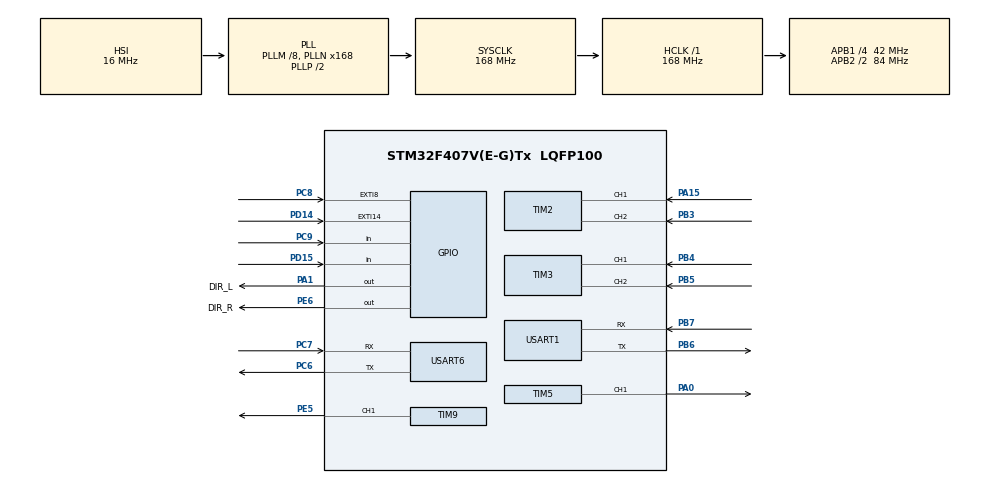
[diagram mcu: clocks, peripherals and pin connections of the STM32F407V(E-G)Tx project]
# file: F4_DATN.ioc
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Dma.Request0=USART1_RX
Dma.Request1=USART6_RX
Dma.USART1_RX.0.Direction=DMA_PERIPH_TO_MEMORY
Dma.USART1_RX.0.FIFOMode=DMA_FIFOMODE_DISABLE
Dma.USART1_RX.0.Instance=DMA2_Stream5
Dma.USART1_RX.0.MemDataAlignment=DMA_MDATAALIGN_BYTE
Dma.USART1_RX.0.MemInc=DMA_MINC_ENABLE
Dma.USART1_RX.0.Mode=DMA_NORMAL
Dma.USART1_RX.0.PeriphDataAlignment=DMA_PDATAALIGN_BYTE
Dma.USART1_RX.0.PeriphInc=DMA_PINC_DISABLE
Dma.USART1_RX.0.Priority=DMA_PRIORITY_MEDIUM
Dma.USART6_RX.1.Direction=DMA_PERIPH_TO_MEMORY
Dma.USART6_RX.1.FIFOMode=DMA_FIFOMODE_DISABLE
Dma.USART6_RX.1.Instance=DMA2_Stream1
Dma.USART6_RX.1.MemDataAlignment=DMA_MDATAALIGN_BYTE
Dma.USART6_RX.1.MemInc=DMA_MINC_ENABLE
Dma.USART6_RX.1.Mode=DMA_NORMAL
Dma.USART6_RX.1.PeriphDataAlignment=DMA_PDATAALIGN_BYTE
Dma.USART6_RX.1.PeriphInc=DMA_PINC_DISABLE
Dma.USART6_RX.1.Priority=DMA_PRIORITY_LOW
Mcu.Family=STM32F4
Mcu.Name=STM32F407V(E-G)Tx
Mcu.Package=LQFP100
NVIC.DMA2_Stream1_IRQn=true\:0\:0\:false\:false\:true\:false\:true\:true
NVIC.DMA2_Stream5_IRQn=true\:0\:0\:false\:false\:true\:false\:true\:true
NVIC.EXTI15_10_IRQn=true\:0\:0\:false\:false\:true\:true\:true\:true
NVIC.EXTI9_5_IRQn=true\:0\:0\:false\:false\:true\:true\:true\:true
NVIC.FPU_IRQn=true\:0\:0\:false\:false\:true\:true\:false\:true
NVIC.PriorityGroup=NVIC_PRIORITYGROUP_4
NVIC.TIM1_BRK_TIM9_IRQn=true\:0\:0\:false\:false\:true\:true\:true\:true
NVIC.TIM1_CC_IRQn=true\:0\:0\:false\:false\:true\:true\:true\:true
NVIC.TIM1_TRG_COM_TIM11_IRQn=true\:0\:0\:false\:false\:true\:true\:true\:true
NVIC.TIM1_UP_TIM10_IRQn=true\:0\:0\:false\:false\:true\:true\:true\:true
NVIC.USART1_IRQn=true\:0\:0\:false\:false\:true\:true\:true\:true
NVIC.USART6_IRQn=true\:0\:0\:false\:false\:true\:true\:true\:true
PA0-WKUP.Signal=S_TIM5_CH1
PA1.GPIO_Label=DIR_L
PA1.Signal=GPIO_Output
PA13.Mode=Serial_Wire
PA13.Signal=SYS_JTMS-SWDIO
PA14.Mode=Serial_Wire
PA14.Signal=SYS_JTCK-SWCLK
PA15.GPIO_PuPd=GPIO_PULLUP
PA15.Signal=S_TIM2_CH1_ETR
PB3.GPIO_PuPd=GPIO_PULLUP
PB3.Signal=S_TIM2_CH2
PB4.GPIO_PuPd=GPIO_PULLUP
PB4.Signal=S_TIM3_CH1
PB5.GPIO_PuPd=GPIO_PULLUP
PB5.Signal=S_TIM3_CH2
PB6.Mode=Asynchronous
PB6.Signal=USART1_TX
PB7.Mode=Asynchronous
PB7.Signal=USART1_RX
PC6.Mode=Asynchronous
PC6.Signal=USART6_TX
PC7.Mode=Asynchronous
PC7.Signal=USART6_RX
PC8.GPIO_ModeDefaultEXTI=GPIO_MODE_IT_RISING
PC8.GPIO_PuPd=GPIO_PULLUP
PC8.Signal=GPXTI8
PC9.GPIO_PuPd=GPIO_PULLUP
PC9.Signal=GPIO_Input
PD14.GPIO_ModeDefaultEXTI=GPIO_MODE_IT_RISING
PD14.GPIO_PuPd=GPIO_PULLUP
PD14.Signal=GPXTI14
PD15.GPIO_PuPd=GPIO_PULLUP
PD15.Signal=GPIO_Input
PD5.Signal=USART2_TX
PD6.Signal=USART2_RX
PE5.Signal=S_TIM9_CH1
PE6.GPIO_Label=DIR_R
PE6.Signal=GPIO_Output
ProjectManager.HeapSize=0x200
ProjectManager.StackSize=0x400
ProjectManager.TargetToolchain=STM32CubeIDE
RCC.48MHZClocksFreq_Value=84000000
RCC.AHBFreq_Value=168000000
RCC.APB1CLKDivider=RCC_HCLK_DIV4
RCC.APB1Freq_Value=42000000
RCC.APB1TimFreq_Value=84000000
RCC.APB2CLKDivider=RCC_HCLK_DIV2
RCC.APB2Freq_Value=84000000
RCC.APB2TimFreq_Value=168000000
RCC.CortexFreq_Value=168000000
RCC.HCLKFreq_Value=168000000
RCC.HSE_VALUE=8000000
RCC.HSI_VALUE=16000000
RCC.LSE_VALUE=32768
RCC.PLLM=8
RCC.PLLN=168
RCC.SYSCLKFreq_VALUE=168000000
RCC.SYSCLKSource=RCC_SYSCLKSOURCE_PLLCLK
RCC.VCOOutputFreq_Value=336000000
SH.S_TIM2_CH1_ETR.0=TIM2_CH1,Encoder_Interface
SH.S_TIM2_CH2.0=TIM2_CH2,Encoder_Interface
SH.S_TIM3_CH1.0=TIM3_CH1,Encoder_Interface
SH.S_TIM3_CH2.0=TIM3_CH2,Encoder_Interface
SH.S_TIM5_CH1.0=TIM5_CH1,PWM Generation1 CH1
SH.S_TIM9_CH1.0=TIM9_CH1,PWM Generation1 CH1
TIM1.Period=10000-1
TIM1.Prescaler=168-1
TIM2.EncoderMode=TIM_ENCODERMODE_TI12
TIM3.EncoderMode=TIM_ENCODERMODE_TI12
TIM5.Channel-PWM\ Generation1\ CH1=TIM_CHANNEL_1
TIM5.Period=255-1
TIM5.Prescaler=67-1
TIM9.Channel-PWM\ Generation1\ CH1=TIM_CHANNEL_1
TIM9.Period=255-1
TIM9.Prescaler=133-1
USART1.VirtualMode=VM_ASYNC
USART6.VirtualMode=VM_ASYNC
VP_TIM1_VS_ClockSourceINT.Mode=Internal
VP_TIM5_VS_ClockSourceINT.Mode=Internal
VP_TIM9_VS_ClockSourceINT.Mode=Internal
board=custom

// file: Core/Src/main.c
/* USER CODE BEGIN Header */
/**
 ******************************************************************************
 * @file           : main.c
 * @brief          : Main program body
 ******************************************************************************
 * @attention
 *
 * Copyright (c) 2024 STMicroelectronics.
 * All rights reserved.
 *
 * This software is licensed under terms that can be found in the LICENSE file
 * in the root directory of this software component.
 * If no LICENSE file comes with this software, it is provided AS-IS.
 *
 ******************************************************************************
 */
/* USER CODE END Header */
#include "main.h"

/* USER CODE BEGIN Includes */
#include "Motor.h"
#include "encoder.h"
#include "PID.h"
#include "string.h"
#include "stdio.h"
#include "math.h"
/* USER CODE END Includes */

/* USER CODE BEGIN PD */
#define DELTA_T		0.01
#define WHEEL_DIS	0.14
#define WHEEL_RAD	0.05

#define KP_R		0.25
#define KI_R		5
#define KD_R		0
#define ALPHA_R		0
#define U_ABOVE_R	254
#define U_BELOW_R	-254
#define PPR_R		1000

#define KP_L		0.25
#define KI_L		5
#define KD_L		0
#define ALPHA_L		0
#define U_ABOVE_L	254
#define U_BELOW_L	-254
#define PPR_L		1000

#define RX_BUFF_SIZE	20
#define TX_BUFF_SIZE    50
/* USER CODE END PD */

TIM_HandleTypeDef htim1;
TIM_HandleTypeDef htim2;
TIM_HandleTypeDef htim3;
TIM_HandleTypeDef htim5;
TIM_HandleTypeDef htim9;

UART_HandleTypeDef huart1;
UART_HandleTypeDef huart6;
DMA_HandleTypeDef hdma_usart1_rx;
DMA_HandleTypeDef hdma_usart6_rx;

/* USER CODE BEGIN PV */
typedef struct Driver_Para{
	TIM_HandleTypeDef *timDC;
	uint32_t Channel;
	uint8_t dir;
	GPIO_TypeDef *dirPort;
	uint16_t dirPin;
}Driver_Para;

typedef struct Encoder_x1{
	//------------------------Timer & Count--------------//
	TIM_HandleTypeDef *htim;
	int32_t count_X4;
	int32_t count_X1;
	int32_t count_Pre;
	uint32_t count_PerRevol;
	//------------------------Speed Val-----------------//
	float vel_Real;
	float vel_Pre;
	float vel_Fil;
	//------------------------Pos Cal-------------------//
	float Degree;
	float deltaT;
}Encoder_x1;

Driver_Para DC_R;
Driver_Para DC_L;

Encoder_t ENC_R;
Encoder_t ENC_L;

Encoder_x1 ENC_R_X1;
Encoder_x1 ENC_L_X1;

PID_Param PID_R;
PID_Param PID_L;

int speedRead1 = 0, speedRead2 = 0;
int speedRead1_m = 0, speedRead2_m = 0;
volatile int DC_R_Target = 0, DC_L_Target = 0;
char Rx_Buff[RX_BUFF_SIZE];
char Tx_Buff[TX_BUFF_SIZE];
/* USER CODE END PV */

void SystemClock_Config(void);
static void MX_GPIO_Init(void);
static void MX_DMA_Init(void);
static void MX_TIM3_Init(void);
static void MX_TIM5_Init(void);
static void MX_TIM9_Init(void);
static void MX_TIM2_Init(void);
static void MX_USART1_UART_Init(void);
static void MX_TIM1_Init(void);
static void MX_USART6_UART_Init(void);

/* USER CODE BEGIN 0 */
volatile int countL = 0,countR = 0;
uint8_t mpu[10];
uint8_t send_mpu;
int16_t angle;
int16_t pre_angle;
float angular_speed = 0;
int yaw = 0;
void Get_MPU_Angle()
{
	send_mpu = 'z';
	HAL_UART_Transmit(&huart6, &send_mpu, 1, 1);
}

void Reset_MPU_Angle()
{
	send_mpu = 'a';
	HAL_UART_Transmit(&huart6, &send_mpu, 1, 1);

}

void HAL_GPIO_EXTI_Callback(uint16_t GPIO_Pin) {
	if (GPIO_Pin == GPIO_PIN_8) {
		if (HAL_GPIO_ReadPin(GPIOC, GPIO_PIN_9)) {
			countL++;
		} else {
			countL--;
		}
	}
	if(GPIO_Pin == GPIO_PIN_14) {
		if (HAL_GPIO_ReadPin(GPIOD, GPIO_PIN_15)) {
			countR--;
		} else {
			countR++;
		}
	}
}

void encoder_Init_x1 (Encoder_x1 *enc, uint16_t pulPerRev, float deltaT) {
	enc->count_PerRevol = pulPerRev;
	enc->deltaT = deltaT;
}

float encoder_GetSpeed_x1 (Encoder_x1 *enc,int count) {
	enc->vel_Real = ((count - enc->count_Pre)*60)/(enc->count_PerRevol*enc->deltaT);
	enc->vel_Fil = 0.854 * enc->vel_Fil + 0.0728 * enc->vel_Real+ 0.0728 * enc->vel_Pre;
	enc->vel_Pre = enc->vel_Real;
	enc->count_Pre = count;
	return enc->vel_Real;
}

void DriverInit(Driver_Para *dcMotor, TIM_HandleTypeDef *htim, uint32_t channel,GPIO_TypeDef *dirPort,uint16_t dirPin) {
	dcMotor->Channel = channel;
	dcMotor->timDC = htim;
	dcMotor->dirPort = dirPort;
	dcMotor->dirPin = dirPin;
}
void DriveMotor(Driver_Para *dcMotor, int32_t speedInput) {
	__HAL_TIM_SET_COMPARE(dcMotor->timDC, dcMotor->Channel, 0);
	if (!speedInput) return;
	uint32_t pwm = 255-abs(speedInput);
	if (speedInput < 0)
		HAL_GPIO_WritePin(dcMotor->dirPort, dcMotor->dirPin, 0);
	else if (speedInput > 0) HAL_GPIO_WritePin(dcMotor->dirPort, dcMotor->dirPin, 1);
	__HAL_TIM_SET_COMPARE(dcMotor->timDC, dcMotor->Channel, pwm);
}

void HAL_UARTEx_RxEventCallback(UART_HandleTypeDef *huart,uint16_t Size) {
	if (huart->Instance == USART1) {
		sscanf(Rx_Buff,"(%d;%d)", &DC_R_Target, &DC_L_Target);
		memset(Rx_Buff, 0, sizeof(Rx_Buff));
		HAL_UARTEx_ReceiveToIdle_DMA(huart, (uint8_t *)Rx_Buff, RX_BUFF_SIZE);
		__HAL_DMA_DISABLE_IT(&hdma_usart1_rx,DMA_IT_HT);
	}
	if (huart->Instance == USART6) {
		angle = mpu[0] << 8 | mpu[1];

		HAL_UARTEx_ReceiveToIdle_DMA(&huart6, (uint8_t *)mpu, 10);
		__HAL_DMA_DISABLE_IT(&hdma_usart6_rx,DMA_IT_HT);
	}
}

void HAL_TIM_PeriodElapsedCallback(TIM_HandleTypeDef *htim) {
	if (htim->Instance == TIM1) {
		speedRead2 = encoder_GetSpeed_x1(&ENC_R_X1,countR);
		speedRead1 = encoder_GetSpeed_x1(&ENC_L_X1,countL);

		DriveMotor(&DC_R, PID_Calculate(&PID_R, DC_R_Target, speedRead2));
		DriveMotor(&DC_L, -PID_Calculate(&PID_L, DC_L_Target, speedRead1));
	}
}
/* USER CODE END 0 */

int main(void)
{

	/* MCU Configuration--------------------------------------------------------*/

	/* Reset of all peripherals, Initializes the Flash interface and the Systick. */
	HAL_Init();

	/* Configure the system clock */
	SystemClock_Config();

	/* Initialize all configured peripherals */
	MX_GPIO_Init();
	MX_DMA_Init();
	MX_TIM3_Init();
	MX_TIM5_Init();
	MX_TIM9_Init();
	MX_TIM2_Init();
	MX_USART1_UART_Init();
	MX_TIM1_Init();
	MX_USART6_UART_Init();
	/* USER CODE BEGIN 2 */

	HAL_TIM_PWM_Start(&htim5, TIM_CHANNEL_1);
	HAL_TIM_PWM_Start(&htim9, TIM_CHANNEL_1);
	HAL_TIM_Encoder_Start_IT(&htim3, TIM_CHANNEL_ALL);
	HAL_TIM_Encoder_Start_IT(&htim2, TIM_CHANNEL_ALL);

	DriverInit(&DC_R, &htim9, TIM_CHANNEL_1, DIR_R_GPIO_Port,DIR_R_Pin );
	DriverInit(&DC_L, &htim5, TIM_CHANNEL_1, DIR_L_GPIO_Port, DIR_L_Pin);

	encoder_Init(&ENC_R, &htim3, PPR_R, DELTA_T);
	encoder_Init(&ENC_L, &htim2, PPR_L, DELTA_T);

	encoder_Init_x1(&ENC_R_X1, PPR_R, DELTA_T);
	encoder_Init_x1(&ENC_L_X1, PPR_L, DELTA_T);

	PID_SetParameters(&PID_R, KP_R, KI_R, KD_R, ALPHA_R,DELTA_T);
	PID_SetParameters(&PID_L, KP_L, KI_L, KD_L, ALPHA_L,DELTA_T);
	PID_SetSaturate(&PID_R, U_ABOVE_R, U_BELOW_R);
	PID_SetSaturate(&PID_L, U_ABOVE_L, U_BELOW_L);

	PID_R.kB = 20;
	PID_L.kB = 20;

	HAL_UARTEx_ReceiveToIdle_DMA(&huart1, (uint8_t *)Rx_Buff, RX_BUFF_SIZE);
	__HAL_DMA_DISABLE_IT(&hdma_usart1_rx,DMA_IT_HT);
	HAL_UARTEx_ReceiveToIdle_DMA(&huart6, (uint8_t *)mpu, 10);
	__HAL_DMA_DISABLE_IT(&hdma_usart6_rx,DMA_IT_HT);
	Reset_MPU_Angle();

	HAL_TIM_Base_Start_IT(&htim1);

	/* USER CODE END 2 */

	/* Infinite loop */
	/* USER CODE BEGIN WHILE */
	while (1)
	{
		Get_MPU_Angle();
		angular_speed = (angle - pre_angle) / 0.01;
		yaw += (abs(angular_speed) <= 100 ? 0 : ((int)(floor(angular_speed / 10.0)) * 10)) * 0.01;
		pre_angle = angle;
		sprintf(Tx_Buff,"%d;%d;%d \n", countL, countR, (int)yaw);
		HAL_UART_Transmit(&huart1, (uint8_t *)Tx_Buff, 50, 100);
		HAL_Delay(10);
		/* USER CODE END WHILE */

	}
}

void SystemClock_Config(void)
{
	RCC_OscInitTypeDef RCC_OscInitStruct = {0};
	RCC_ClkInitTypeDef RCC_ClkInitStruct = {0};

	/** Configure the main internal regulator output voltage
	 */
	__HAL_RCC_PWR_CLK_ENABLE();
	__HAL_PWR_VOLTAGESCALING_CONFIG(PWR_REGULATOR_VOLTAGE_SCALE1);

	/** Initializes the RCC Oscillators according to the specified parameters
	 * in the RCC_OscInitTypeDef structure.
	 */
	RCC_OscInitStruct.OscillatorType = RCC_OSCILLATORTYPE_HSI;
	RCC_OscInitStruct.HSIState = RCC_HSI_ON;
	RCC_OscInitStruct.HSICalibrationValue = RCC_HSICALIBRATION_DEFAULT;
	RCC_OscInitStruct.PLL.PLLState = RCC_PLL_ON;
	RCC_OscInitStruct.PLL.PLLSource = RCC_PLLSOURCE_HSI;
	RCC_OscInitStruct.PLL.PLLM = 8;
	RCC_OscInitStruct.PLL.PLLN = 168;
	RCC_OscInitStruct.PLL.PLLP = RCC_PLLP_DIV2;
	RCC_OscInitStruct.PLL.PLLQ = 4;
	if (HAL_RCC_OscConfig(&RCC_OscInitStruct) != HAL_OK)
	{
		Error_Handler();
	}

	/** Initializes the CPU, AHB and APB buses clocks
	 */
	RCC_ClkInitStruct.ClockType = RCC_CLOCKTYPE_HCLK|RCC_CLOCKTYPE_SYSCLK
			|RCC_CLOCKTYPE_PCLK1|RCC_CLOCKTYPE_PCLK2;
	RCC_ClkInitStruct.SYSCLKSource = RCC_SYSCLKSOURCE_PLLCLK;
	RCC_ClkInitStruct.AHBCLKDivider = RCC_SYSCLK_DIV1;
	RCC_ClkInitStruct.APB1CLKDivider = RCC_HCLK_DIV4;
	RCC_ClkInitStruct.APB2CLKDivider = RCC_HCLK_DIV2;

	if (HAL_RCC_ClockConfig(&RCC_ClkInitStruct, FLASH_LATENCY_5) != HAL_OK)
	{
		Error_Handler();
	}
}

static void MX_TIM1_Init(void)
{

	TIM_ClockConfigTypeDef sClockSourceConfig = {0};
	TIM_MasterConfigTypeDef sMasterConfig = {0};

	htim1.Instance = TIM1;
	htim1.Init.Prescaler = 168-1;
	htim1.Init.CounterMode = TIM_COUNTERMODE_UP;
	htim1.Init.Period = 10000-1;
	htim1.Init.ClockDivision = TIM_CLOCKDIVISION_DIV1;
	htim1.Init.RepetitionCounter = 0;
	htim1.Init.AutoReloadPreload = TIM_AUTORELOAD_PRELOAD_DISABLE;
	if (HAL_TIM_Base_Init(&htim1) != HAL_OK)
	{
		Error_Handler();
	}
	sClockSourceConfig.ClockSource = TIM_CLOCKSOURCE_INTERNAL;
	if (HAL_TIM_ConfigClockSource(&htim1, &sClockSourceConfig) != HAL_OK)
	{
		Error_Handler();
	}
	sMasterConfig.MasterOutputTrigger = TIM_TRGO_RESET;
	sMasterConfig.MasterSlaveMode = TIM_MASTERSLAVEMODE_DISABLE;
	if (HAL_TIMEx_MasterConfigSynchronization(&htim1, &sMasterConfig) != HAL_OK)
	{
		Error_Handler();
	}

}

static void MX_TIM2_Init(void)
{

	TIM_Encoder_InitTypeDef sConfig = {0};
	TIM_MasterConfigTypeDef sMasterConfig = {0};

	htim2.Instance = TIM2;
	htim2.Init.Prescaler = 0;
	htim2.Init.CounterMode = TIM_COUNTERMODE_UP;
	htim2.Init.Period = 4294967295;
	htim2.Init.ClockDivision = TIM_CLOCKDIVISION_DIV1;
	htim2.Init.AutoReloadPreload = TIM_AUTORELOAD_PRELOAD_DISABLE;
	sConfig.EncoderMode = TIM_ENCODERMODE_TI12;
	sConfig.IC1Polarity = TIM_ICPOLARITY_RISING;
	sConfig.IC1Selection = TIM_ICSELECTION_DIRECTTI;
	sConfig.IC1Prescaler = TIM_ICPSC_DIV1;
	sConfig.IC1Filter = 0;
	sConfig.IC2Polarity = TIM_ICPOLARITY_RISING;
	sConfig.IC2Selection = TIM_ICSELECTION_DIRECTTI;
	sConfig.IC2Prescaler = TIM_ICPSC_DIV1;
	sConfig.IC2Filter = 0;
	if (HAL_TIM_Encoder_Init(&htim2, &sConfig) != HAL_OK)
	{
		Error_Handler();
	}
	sMasterConfig.MasterOutputTrigger = TIM_TRGO_RESET;
	sMasterConfig.MasterSlaveMode = TIM_MASTERSLAVEMODE_DISABLE;
	if (HAL_TIMEx_MasterConfigSynchronization(&htim2, &sMasterConfig) != HAL_OK)
	{
		Error_Handler();
	}

}

static void MX_TIM3_Init(void)
{

	TIM_Encoder_InitTypeDef sConfig = {0};
	TIM_MasterConfigTypeDef sMasterConfig = {0};

	htim3.Instance = TIM3;
	htim3.Init.Prescaler = 0;
	htim3.Init.CounterMode = TIM_COUNTERMODE_UP;
	htim3.Init.Period = 65535;
	htim3.Init.ClockDivision = TIM_CLOCKDIVISION_DIV1;
	htim3.Init.AutoReloadPreload = TIM_AUTORELOAD_PRELOAD_DISABLE;
	sConfig.EncoderMode = TIM_ENCODERMODE_TI12;
	sConfig.IC1Polarity = TIM_ICPOLARITY_RISING;
	sConfig.IC1Selection = TIM_ICSELECTION_DIRECTTI;
	sConfig.IC1Prescaler = TIM_ICPSC_DIV1;
	sConfig.IC1Filter = 0;
	sConfig.IC2Polarity = TIM_ICPOLARITY_RISING;
	sConfig.IC2Selection = TIM_ICSELECTION_DIRECTTI;
	sConfig.IC2Prescaler = TIM_ICPSC_DIV1;
	sConfig.IC2Filter = 0;
	if (HAL_TIM_Encoder_Init(&htim3, &sConfig) != HAL_OK)
	{
		Error_Handler();
	}
	sMasterConfig.MasterOutputTrigger = TIM_TRGO_RESET;
	sMasterConfig.MasterSlaveMode = TIM_MASTERSLAVEMODE_DISABLE;
	if (HAL_TIMEx_MasterConfigSynchronization(&htim3, &sMasterConfig) != HAL_OK)
	{
		Error_Handler();
	}

}

static void MX_TIM5_Init(void)
{

	TIM_ClockConfigTypeDef sClockSourceConfig = {0};
	TIM_MasterConfigTypeDef sMasterConfig = {0};
	TIM_OC_InitTypeDef sConfigOC = {0};

	htim5.Instance = TIM5;
	htim5.Init.Prescaler = 67-1;
	htim5.Init.CounterMode = TIM_COUNTERMODE_UP;
	htim5.Init.Period = 255-1;
	htim5.Init.ClockDivision = TIM_CLOCKDIVISION_DIV1;
	htim5.Init.AutoReloadPreload = TIM_AUTORELOAD_PRELOAD_DISABLE;
	if (HAL_TIM_Base_Init(&htim5) != HAL_OK)
	{
		Error_Handler();
	}
	sClockSourceConfig.ClockSource = TIM_CLOCKSOURCE_INTERNAL;
	if (HAL_TIM_ConfigClockSource(&htim5, &sClockSourceConfig) != HAL_OK)
	{
		Error_Handler();
	}
	if (HAL_TIM_PWM_Init(&htim5) != HAL_OK)
	{
		Error_Handler();
	}
	sMasterConfig.MasterOutputTrigger = TIM_TRGO_RESET;
	sMasterConfig.MasterSlaveMode = TIM_MASTERSLAVEMODE_DISABLE;
	if (HAL_TIMEx_MasterConfigSynchronization(&htim5, &sMasterConfig) != HAL_OK)
	{
		Error_Handler();
	}
	sConfigOC.OCMode = TIM_OCMODE_PWM1;
	sConfigOC.Pulse = 0;
	sConfigOC.OCPolarity = TIM_OCPOLARITY_HIGH;
	sConfigOC.OCFastMode = TIM_OCFAST_DISABLE;
	if (HAL_TIM_PWM_ConfigChannel(&htim5, &sConfigOC, TIM_CHANNEL_1) != HAL_OK)
	{
		Error_Handler();
	}
	HAL_TIM_MspPostInit(&htim5);

}

static void MX_TIM9_Init(void)
{

	TIM_ClockConfigTypeDef sClockSourceConfig = {0};
	TIM_OC_InitTypeDef sConfigOC = {0};

	htim9.Instance = TIM9;
	htim9.Init.Prescaler = 133-1;
	htim9.Init.CounterMode = TIM_COUNTERMODE_UP;
	htim9.Init.Period = 255-1;
	htim9.Init.ClockDivision = TIM_CLOCKDIVISION_DIV1;
	htim9.Init.AutoReloadPreload = TIM_AUTORELOAD_PRELOAD_DISABLE;
	if (HAL_TIM_Base_Init(&htim9) != HAL_OK)
	{
		Error_Handler();
	}
	sClockSourceConfig.ClockSource = TIM_CLOCKSOURCE_INTERNAL;
	if (HAL_TIM_ConfigClockSource(&htim9, &sClockSourceConfig) != HAL_OK)
	{
		Error_Handler();
	}
	if (HAL_TIM_PWM_Init(&htim9) != HAL_OK)
	{
		Error_Handler();
	}
	sConfigOC.OCMode = TIM_OCMODE_PWM1;
	sConfigOC.Pulse = 0;
	sConfigOC.OCPolarity = TIM_OCPOLARITY_HIGH;
	sConfigOC.OCFastMode = TIM_OCFAST_DISABLE;
	if (HAL_TIM_PWM_ConfigChannel(&htim9, &sConfigOC, TIM_CHANNEL_1) != HAL_OK)
	{
		Error_Handler();
	}
	HAL_TIM_MspPostInit(&htim9);

}

static void MX_USART1_UART_Init(void)
{

	huart1.Instance = USART1;
	huart1.Init.BaudRate = 115200;
	huart1.Init.WordLength = UART_WORDLENGTH_8B;
	huart1.Init.StopBits = UART_STOPBITS_1;
	huart1.Init.Parity = UART_PARITY_NONE;
	huart1.Init.Mode = UART_MODE_TX_RX;
	huart1.Init.HwFlowCtl = UART_HWCONTROL_NONE;
	huart1.Init.OverSampling = UART_OVERSAMPLING_16;
	if (HAL_UART_Init(&huart1) != HAL_OK)
	{
		Error_Handler();
	}

}

static void MX_USART6_UART_Init(void)
{

	huart6.Instance = USART6;
	huart6.Init.BaudRate = 115200;
	huart6.Init.WordLength = UART_WORDLENGTH_8B;
	huart6.Init.StopBits = UART_STOPBITS_1;
	huart6.Init.Parity = UART_PARITY_NONE;
	huart6.Init.Mode = UART_MODE_TX_RX;
	huart6.Init.HwFlowCtl = UART_HWCONTROL_NONE;
	huart6.Init.OverSampling = UART_OVERSAMPLING_16;
	if (HAL_UART_Init(&huart6) != HAL_OK)
	{
		Error_Handler();
	}

}

static void MX_DMA_Init(void)
{

	/* DMA controller clock enable */
	__HAL_RCC_DMA2_CLK_ENABLE();

	/* DMA interrupt init */
	/* DMA2_Stream1_IRQn interrupt configuration */
	HAL_NVIC_SetPriority(DMA2_Stream1_IRQn, 0, 0);
	HAL_NVIC_EnableIRQ(DMA2_Stream1_IRQn);
	/* DMA2_Stream5_IRQn interrupt configuration */
	HAL_NVIC_SetPriority(DMA2_Stream5_IRQn, 0, 0);
	HAL_NVIC_EnableIRQ(DMA2_Stream5_IRQn);

}

static void MX_GPIO_Init(void)
{
	GPIO_InitTypeDef GPIO_InitStruct = {0};

	/* GPIO Ports Clock Enable */
	__HAL_RCC_GPIOE_CLK_ENABLE();
	__HAL_RCC_GPIOA_CLK_ENABLE();
	__HAL_RCC_GPIOD_CLK_ENABLE();
	__HAL_RCC_GPIOC_CLK_ENABLE();
	__HAL_RCC_GPIOB_CLK_ENABLE();

	/*Configure GPIO pin Output Level */
	HAL_GPIO_WritePin(DIR_R_GPIO_Port, DIR_R_Pin, GPIO_PIN_RESET);

	/*Configure GPIO pin Output Level */
	HAL_GPIO_WritePin(DIR_L_GPIO_Port, DIR_L_Pin, GPIO_PIN_RESET);

	/*Configure GPIO pin : DIR_R_Pin */
	GPIO_InitStruct.Pin = DIR_R_Pin;
	GPIO_InitStruct.Mode = GPIO_MODE_OUTPUT_PP;
	GPIO_InitStruct.Pull = GPIO_NOPULL;
	GPIO_InitStruct.Speed = GPIO_SPEED_FREQ_LOW;
	HAL_GPIO_Init(DIR_R_GPIO_Port, &GPIO_InitStruct);

	/*Configure GPIO pin : DIR_L_Pin */
	GPIO_InitStruct.Pin = DIR_L_Pin;
	GPIO_InitStruct.Mode = GPIO_MODE_OUTPUT_PP;
	GPIO_InitStruct.Pull = GPIO_NOPULL;
	GPIO_InitStruct.Speed = GPIO_SPEED_FREQ_LOW;
	HAL_GPIO_Init(DIR_L_GPIO_Port, &GPIO_InitStruct);

	/*Configure GPIO pin : PD14 */
	GPIO_InitStruct.Pin = GPIO_PIN_14;
	GPIO_InitStruct.Mode = GPIO_MODE_IT_RISING;
	GPIO_InitStruct.Pull = GPIO_PULLUP;
	HAL_GPIO_Init(GPIOD, &GPIO_InitStruct);

	/*Configure GPIO pin : PD15 */
	GPIO_InitStruct.Pin = GPIO_PIN_15;
	GPIO_InitStruct.Mode = GPIO_MODE_INPUT;
	GPIO_InitStruct.Pull = GPIO_PULLUP;
	HAL_GPIO_Init(GPIOD, &GPIO_InitStruct);

	/*Configure GPIO pin : PC8 */
	GPIO_InitStruct.Pin = GPIO_PIN_8;
	GPIO_InitStruct.Mode = GPIO_MODE_IT_RISING;
	GPIO_InitStruct.Pull = GPIO_PULLUP;
	HAL_GPIO_Init(GPIOC, &GPIO_InitStruct);

	/*Configure GPIO pin : PC9 */
	GPIO_InitStruct.Pin = GPIO_PIN_9;
	GPIO_InitStruct.Mode = GPIO_MODE_INPUT;
	GPIO_InitStruct.Pull = GPIO_PULLUP;
	HAL_GPIO_Init(GPIOC, &GPIO_InitStruct);

	/*Configure GPIO pins : PD5 PD6 */
	GPIO_InitStruct.Pin = GPIO_PIN_5|GPIO_PIN_6;
	GPIO_InitStruct.Mode = GPIO_MODE_AF_PP;
	GPIO_InitStruct.Pull = GPIO_NOPULL;
	GPIO_InitStruct.Speed = GPIO_SPEED_FREQ_VERY_HIGH;
	GPIO_InitStruct.Alternate = GPIO_AF7_USART2;
	HAL_GPIO_Init(GPIOD, &GPIO_InitStruct);

	/* EXTI interrupt init*/
	HAL_NVIC_SetPriority(EXTI9_5_IRQn, 0, 0);
	HAL_NVIC_EnableIRQ(EXTI9_5_IRQn);

	HAL_NVIC_SetPriority(EXTI15_10_IRQn, 0, 0);
	HAL_NVIC_EnableIRQ(EXTI15_10_IRQn);

}

void Error_Handler(void)
{
	__disable_irq();
	while (1)
	{
	}
}
